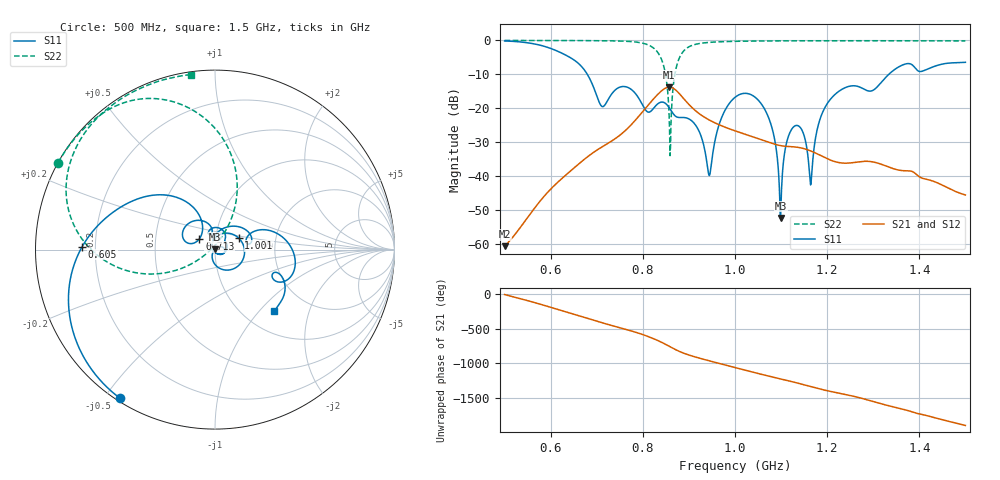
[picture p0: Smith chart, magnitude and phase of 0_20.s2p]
! TOUCHSTONE file generated by CST MICROWAVE STUDIO
! Date and time: Mon Sep 28 14:09:22 2020
! Project name: Scenario_1_Free_SPace.cst
! Parameters = {dx1=502.3; L_HA=400; MT=2.54; Rad_Dielectric=30; Rad_Lower=7.3; Rad_Upper=30; a_HA=580; a_WG=246; b_HA=500; b_WG=121; c_HA=0; c_WG=187; d_feed=85; h_feed=15; h_lower=18; h_upper=40}
! Header version: 2018
! Port assignment regex: !\s*Touchstone port\s*([0-9]+)\s*=\s*(CST MWS port|CST DS port)\s*([0-9]+|Zmin|Zmax)\s*\(\"(.*)\"\)(\s*mode\s*([0-9]+))?.*
! Touchstone port assignment:
! Touchstone port 1 = CST MWS port 1 ("")
! Touchstone port 2 = CST MWS port 2 ("")
# GHz S DB R 50
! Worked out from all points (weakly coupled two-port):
!   1003 points, 500 MHz to 1.5 GHz, reference 50 ohm
!   highest |S21| = -13.76 dB at 857 MHz (marker M1); lowest = -60.7 dB at 500 MHz (marker M2)
!   lowest |S11| = -52.4 dB at 1.099 GHz (marker M3), VSWR 1.00, Z = 49.9 + j0.218 ohm
!   |S11| at or under -10 dB: 679.5 MHz to 1.334 GHz (654.2 MHz wide, 65 % of centre)
!   |S22| runs from -34.0 to 0.0 dB; largest |S21 - S12| = 8.5e-06
!   S11 on the Smith chart (normalised r, x): 500 MHz: 0.01, -0.55; 605 MHz: 0.15, +0.01; 713 MHz: 0.83, +0.10; 1.001 GHz: 1.29, +0.17; 1.5 GHz: 1.37, -1.21
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0.5  -0.15 -122.6  -60.67 -7.1  -60.67 -7.1  -0.01 151.1
0.605  -2.61 178.7  -43.16 157.6  -43.16 157.6  -0.02 143.7
0.667  -7.69 132.5  -35.72 34.7  -35.72 34.7  -0.04 138.3
0.713  -19.52 145.3  -31.27 -58.8  -31.27 -58.8  -0.09 133.2
0.757  -13.58 143.3  -27.18 -141.0  -27.18 -141.0  -0.21 125.9
0.834  -18.54 100.0  -15.69 41.7  -15.69 41.7  -3.85 87.5
0.848  -18.46 73.2  -14.14 -4.0  -14.14 -4.0  -9.15 69.3
0.857  -19.79 56.4  -13.76 -36.1  -13.76 -36.1  -22.07 62.4
0.883  -22.73 36.7  -16.27 -122.1  -16.27 -122.1  -4.16 -174.5
0.919  -25.96 -24.5  -21.25 158.0  -21.25 158.0  -1.01 158.7
0.944  -39.85 -144.4  -23.45 112.4  -23.45 112.4  -0.58 150.4
1  -16.78 27.8  -26.65 14.5  -26.65 14.5  -0.27 140.2
1.001  -16.67 26.0  -26.70 12.8  -26.70 12.8  -0.26 140.1
1.067  -20.96 -86.4  -29.77 -99.5  -29.77 -99.5  -0.15 132.7
1.099  -52.36 115.1  -31.02 -149.9  -31.02 -149.9  -0.12 129.8
1.112  -30.11 32.0  -31.25 -170.1  -31.25 -170.1  -0.12 128.6
1.129  -25.29 1.0  -31.39 161.2  -31.39 161.2  -0.11 127.2
1.167  -38.53 154.2  -32.74 92.5  -32.74 92.5  -0.10 124.2
1.184  -23.42 95.5  -33.82 63.7  -33.82 63.7  -0.09 122.9
1.207  -17.37 65.0  -35.28 29.0  -35.28 29.0  -0.09 121.1
1.334  -9.97 19.8  -37.35 -179.7  -37.35 -179.7  -0.09 111.5
1.5  -6.45 -45.9  -45.57 -104.5  -45.56 -104.5  -0.14 97.9
